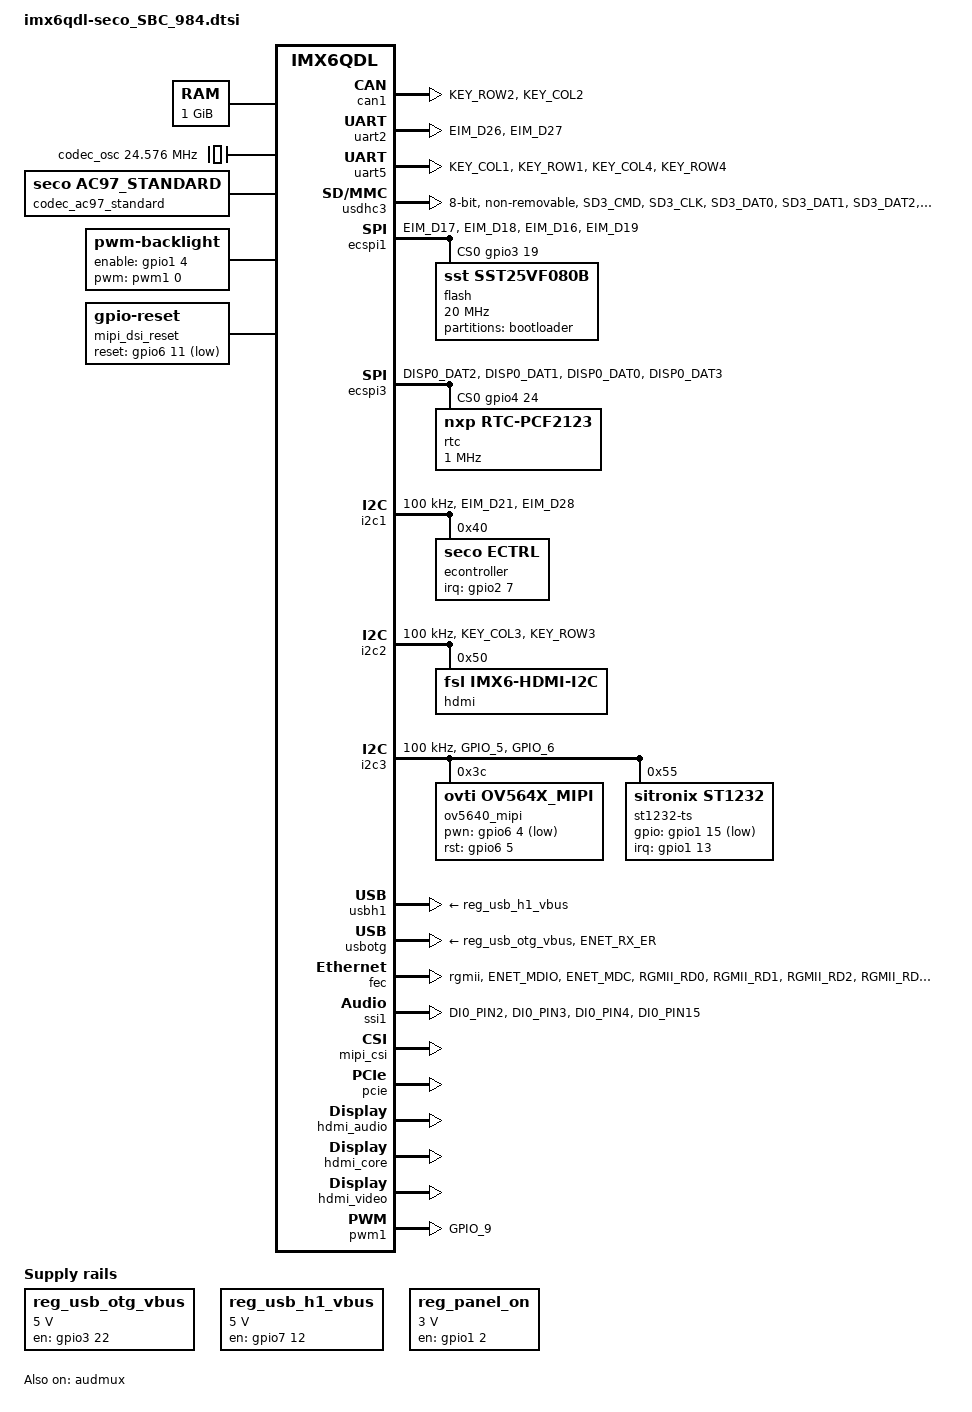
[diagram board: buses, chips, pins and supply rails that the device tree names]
/*
 * Copyright 2012 Freescale Semiconductor, Inc.
 * Copyright 2011 Linaro Ltd.
 *
 * The code contained herein is licensed under the GNU General Public
 * License. You may obtain a copy of the GNU General Public License
 * Version 2 or later at the following locations:
 *
 * http://www.opensource.org/licenses/gpl-license.html
 * http://www.gnu.org/copyleft/gpl.html
 */

#include <dt-bindings/input/input.h>
#include <dt-bindings/gpio/gpio.h>
#include <dt-bindings/seco/ectrl.h>


/ {
	aliases {
		mxcfb0 = &mxcfb1;
		mxcfb1 = &mxcfb2;
		mxcfb2 = &mxcfb3;
		mxcfb3 = &mxcfb4;
		mmc0   = &usdhc3;
	};

	memory: memory {
		reg = <0x10000000 0x40000000>;
	};



/*  __________________________________________________________________________
 * |_______________________________ CLOCKING _________________________________|
 */


	clocks {
		codec_osc: anaclk2 {
			compatible      = "fixed-clock";
			#clock-cells    = <0>;
			clock-frequency = <24576000>;
		};
	};


/*  __________________________________________________________________________
 * |___________________________ POWER MANAGEMENT _____________________________|
 */
	power_signal: power_signal {
		power-gpio = <&gpio2 4 0>;
	};

	regulators {
		compatible       = "simple-bus";
		#address-cells   = <1>;
		#size-cells      = <0>;

	reg_usb_otg_vbus: regulator@0 {
			compatible              = "regulator-fixed";
			reg                     = <0>;
			regulator-name          = "usb_otg_vbus";
			regulator-min-microvolt = <5000000>;
			regulator-max-microvolt = <5000000>;
			gpio                    = <&gpio3 22 0>;
			enable-active-high;
		};

	reg_usb_h1_vbus: regulator@1 {
			compatible              = "regulator-fixed";
			reg                     = <1>;
			regulator-name          = "usb_h1_vbus";
			regulator-min-microvolt = <5000000>;
			regulator-max-microvolt = <5000000>;
			gpio                    = <&gpio7 12 0>;
			enable-active-high;
		};

	 reg_panel_on: regulator@2 {
                        compatible              = "regulator-fixed";
                        reg                     = <2>;
                        regulator-name          = "reg_panel_on";
                        regulator-min-microvolt = <3000000>;
                        regulator-max-microvolt = <3000000>;
                        gpio                    = <&gpio1 2 0>;
                        enable-active-high;
                        regulator-boot-on;
                        regulator-always-on;
                };

	};

/*  __________________________________________________________________________
 * |____________________________ AUDIO ALC655 ________________________________|
 */
    codec_ac97_standard: codec_ac97_standard {
		compatible = "seco,ac97_standard";
		model	   = "ac97-standard-codec";
		status     = "okay";
	};

	sound_ac97_standard: sound_ac97_standard {
		compatible     = "fsl,imx-ac97_standard-audio";
		model          = "imx-ac97-ac97_standard";
		ssi-controller = <&ssi1>;
		audio-codec    = <&codec_ac97_standard>;
		mux-int-port   = <1>;
		mux-ext-port   = <6>;
		status         = "okay";
	};

/*  __________________________________________________________________________
 * |__________________________________________________________________________|
 */

	sound-hdmi {
		compatible      = "fsl,imx6q-audio-hdmi",
		                  "fsl,imx-audio-hdmi";
		model           = "imx-audio-hdmi";
		hdmi-controller = <&hdmi_audio>;
	};


/*  __________________________________________________________________________
 * |____________________________ FRAME BUFFER ________________________________|
 */
	mxcfb1: fb@0 {
		compatible        = "fsl,mxc_sdc_fb";
		disp_dev          = "ldb";
		interface_pix_fmt = "RGB666";
		mode_str          = "LDB-WVGA";
		default_bpp       = <16>;
		int_clk           = <0>;
		late_init         = <0>;
		status            = "disabled";
	};

	mxcfb2: fb@1 {
		compatible        = "fsl,mxc_sdc_fb";
		disp_dev          = "lcd";
		interface_pix_fmt = "RGB565";
		mode_str          = "CLAA-WVGA";
		default_bpp       = <16>;
		int_clk           = <0>;
		late_init         = <0>;
		status            = "disabled";
		
	};

	mxcfb3: fb@2 {
		compatible        = "fsl,mxc_sdc_fb";
		disp_dev          = "hdmi";
		interface_pix_fmt = "RGB24";
		mode_str          = "1920x1080M@60";
		default_bpp       = <24>;
		int_clk           = <0>;
		late_init         = <0>;
		status            = "disabled";
		
	};

	mxcfb4: fb@3 {
		compatible        = "fsl,mxc_sdc_fb";
		disp_dev          = "ldb";
		interface_pix_fmt = "RGB666";
		default_bpp       = <16>;
		int_clk           = <0>;
		late_init         = <0>;
		status            = "disabled";
	};

#include <dt-bindings/pwm/pwm.h>
	backlight {
		compatible               = "pwm-backlight";
		pwms                     = <&pwm1 0 5000000>;
		brightness-levels        = <0  4   8   12  16  20  24  28  32  36
		                            40  44  48  52  56  60  64  68  72  76
		                            80  84  88  92  96  100 104 108 112 116
		                            120 124 128 132 136 140 144 148 152 156
		                            160 164 168 172 176 180 184 188 192 196
		                            200 204 208 212 216 220 224 228 232 236
		                            240 244 248 252 255
		                           >;
		default-brightness-level = <64>;
		enable-gpios             = <&gpio1 4 0>;
		status                   = "okay";
	};

	v4l2_cap_0 {
		compatible  = "fsl,imx6q-v4l2-capture";
		ipu_id      = <0>;
		csi_id      = <0>;
		mclk_source = <0>;
		status      = "okay";
	};

	v4l2_cap_1 {
		compatible  = "fsl,imx6q-v4l2-capture";
		ipu_id      = <0>;
		csi_id      = <1>;
		mclk_source = <0>;
		status      = "okay";
	};

	v4l2_out {
		compatible = "fsl,mxc_v4l2_output";
		status     = "okay";
	};

	mipi_dsi_reset: mipi-dsi-reset {
		compatible = "gpio-reset";
		reset-gpios = <&gpio6 11 GPIO_ACTIVE_LOW>;
		reset-delay-us = <50>;
		#reset-cells = <0>;
	};

};

&clks {
	assigned-clocks =
			<&clks IMX6QDL_PLL4_BYPASS_SRC>,
			<&clks IMX6QDL_PLL4_BYPASS>,

			<&clks IMX6QDL_CLK_EMI_SEL>,
			<&clks IMX6QDL_CLK_EMI_SLOW_SEL>,

			<&clks IMX6QDL_CLK_PLL4_POST_DIV>,
			<&clks IMX6QDL_CLK_EMI_SLOW_PODF>;

	assigned-clock-parents =
			<&clks IMX6QDL_CLK_LVDS2_IN>,
			<&clks IMX6QDL_PLL4_BYPASS_SRC>,

			<&clks IMX6QDL_CLK_PLL2_PFD2_396M>,
			<&clks IMX6QDL_CLK_AXI>;

	assigned-clock-rates = <0>, <0>, <0>, <0>, <24576000>, <8>;
};



/*  __________________________________________________________________________
 * |                                                                          |
 * |                                    IOMUX                                 |
 * |__________________________________________________________________________|
 */

&iomuxc {
	pinctrl-names = "default";
	pinctrl-0 = <&pinctrl_hog>;

	imx6qdl-SBC_984 {

		pinctrl_hog: hoggrp {
			fsl,pins = <
				/*  LVDS  */
				MX6QDL_PAD_GPIO_4__GPIO1_IO04                0x1f071
				MX6QDL_PAD_GPIO_2__GPIO1_IO02                0x1f071
				/*  USB  */
				MX6QDL_PAD_EIM_D22__GPIO3_IO22               0x1f071
				MX6QDL_PAD_GPIO_17__GPIO7_IO12               0x1f071
				/*  ECTRL INTERRUPT  */
				MX6QDL_PAD_NANDF_D7__GPIO2_IO07              0x1f071
				/*  PWR EMBEDDED CONTROLLER  */
				MX6QDL_PAD_NANDF_D4__GPIO2_IO04              0x1f071
                                /* CAMERA */
			 	MX6QDL_PAD_GPIO_3__CCM_CLKO2		     0x1f071
                                MX6QDL_PAD_CSI0_DAT18__GPIO6_IO04            0x1f071
				MX6QDL_PAD_CSI0_DAT19__GPIO6_IO05            0x1f071
                                /* CAN */
                                MX6QDL_PAD_GPIO_0__GPIO1_IO00                0x1f071
                               
			>;
		};


/*  __________________________________________________________________________
 * |_________________________________ CAN ____________________________________|
 */
		pinctrl_flexcan1: flexcan1grp {
			fsl,pins = <
				MX6QDL_PAD_KEY_ROW2__FLEXCAN1_RX             0x80000000
				MX6QDL_PAD_KEY_COL2__FLEXCAN1_TX             0x80000000
			>;
		};

/*  __________________________________________________________________________
 * |________________________________ UART ____________________________________|
 */
		pinctrl_uart2: uart2grp {
			fsl,pins = <
				MX6QDL_PAD_EIM_D26__UART2_TX_DATA            0x1b0b1
				MX6QDL_PAD_EIM_D27__UART2_RX_DATA            0x1b0b1
			>;
		};

		

		pinctrl_uart5: uart5grp {
			fsl,pins = <
				MX6QDL_PAD_KEY_COL1__UART5_TX_DATA           0x1b0b1
				MX6QDL_PAD_KEY_ROW1__UART5_RX_DATA           0x1b0b1
				MX6QDL_PAD_KEY_COL4__UART5_RTS_B             0x1b0b1
				MX6QDL_PAD_KEY_ROW4__UART5_CTS_B             0x1b0b1

			>;
		};

/*  __________________________________________________________________________
 * |_________________________________ I2C ____________________________________|
 */
		pinctrl_i2c1: i2c1grp {
			fsl,pins = <
				MX6QDL_PAD_EIM_D21__I2C1_SCL                 0x4001b8b1
				MX6QDL_PAD_EIM_D28__I2C1_SDA                 0x4001b8b1
			>;
		};

		pinctrl_i2c2: i2c2grp {
			fsl,pins = <
				MX6QDL_PAD_KEY_COL3__I2C2_SCL                0x4001b8b1
				MX6QDL_PAD_KEY_ROW3__I2C2_SDA                0x4001b8b1
			 >;
		};

		pinctrl_i2c3: i2c3grp {
			fsl,pins = <
				MX6QDL_PAD_GPIO_5__I2C3_SCL                  0x4001b8b1
				MX6QDL_PAD_GPIO_6__I2C3_SDA                  0x4001b8b1
			>;
		};

/*  __________________________________________________________________________
 * |_________________________________ SPI ____________________________________|
 */
		pinctrl_ecspi1: ecspi1grp {
			fsl,pins = <
				MX6QDL_PAD_EIM_D17__ECSPI1_MISO              0x100b1
				MX6QDL_PAD_EIM_D18__ECSPI1_MOSI              0x100b1
				MX6QDL_PAD_EIM_D16__ECSPI1_SCLK              0x100b1
				/*  CS SPI 1  */
				MX6QDL_PAD_EIM_D19__GPIO3_IO19               0x80000000

			>;
		};
		
		

		pinctrl_ecspi3: ecspi3grp {
			fsl,pins = <
				MX6QDL_PAD_DISP0_DAT2__ECSPI3_MISO           0x100b1
				MX6QDL_PAD_DISP0_DAT1__ECSPI3_MOSI           0x100b1
				MX6QDL_PAD_DISP0_DAT0__ECSPI3_SCLK           0x100b1
				/*  CS SPI 3  */
				MX6QDL_PAD_DISP0_DAT3__GPIO4_IO24            0x80000000
                                
			>;
		};

/*  __________________________________________________________________________
 * |________________________________ USDHC ___________________________________|
 */
		pinctrl_usdhc3: usdhc3grp {
			fsl,pins = <
				MX6QDL_PAD_SD3_CMD__SD3_CMD                  0x17059
				MX6QDL_PAD_SD3_CLK__SD3_CLK                  0x10059
				MX6QDL_PAD_SD3_DAT0__SD3_DATA0               0x17059
				MX6QDL_PAD_SD3_DAT1__SD3_DATA1               0x17059
				MX6QDL_PAD_SD3_DAT2__SD3_DATA2               0x17059
				MX6QDL_PAD_SD3_DAT3__SD3_DATA3               0x17059
				MX6QDL_PAD_SD3_DAT4__SD3_DATA4               0x17059
				MX6QDL_PAD_SD3_DAT5__SD3_DATA5               0x17059
				MX6QDL_PAD_SD3_DAT6__SD3_DATA6               0x17059
				MX6QDL_PAD_SD3_DAT7__SD3_DATA7               0x17059
				MX6QDL_PAD_SD3_RST__SD3_RESET                0x17059
			>;
		};


/*  __________________________________________________________________________
 * |________________________________ TOUCH ___________________________________|
 */
		pinctrl_st1232: st1232grp {
			fsl,pins = <
				MX6QDL_PAD_EIM_D27__GPIO3_IO27             0x80000000		// Touch Interrupt
				MX6QDL_PAD_EIM_D26__GPIO3_IO26              0x80000000		// Touch Reset
			>;
		};
		

/*  __________________________________________________________________________
 * |______________________________ ETHERNET __________________________________|
 */
		pinctrl_enet: enetgrp {
			fsl,pins = <
				MX6QDL_PAD_ENET_MDIO__ENET_MDIO              0x1b0b0
				MX6QDL_PAD_ENET_MDC__ENET_MDC                0x1b0b0
				MX6QDL_PAD_RGMII_RD0__RGMII_RD0              0x1b0b0
				MX6QDL_PAD_RGMII_RD1__RGMII_RD1              0x1b0b0
				MX6QDL_PAD_RGMII_RD2__RGMII_RD2              0x1b0b0
				MX6QDL_PAD_RGMII_RD3__RGMII_RD3              0x1b0b0
				MX6QDL_PAD_RGMII_RX_CTL__RGMII_RX_CTL        0x1b0b0
				MX6QDL_PAD_RGMII_TD0__RGMII_TD0              0x1b0b0
				MX6QDL_PAD_RGMII_TD1__RGMII_TD1              0x1b0b0
				MX6QDL_PAD_RGMII_TD2__RGMII_TD2              0x1b0b0
				MX6QDL_PAD_RGMII_TD3__RGMII_TD3              0x1b0b0
				MX6QDL_PAD_RGMII_TX_CTL__RGMII_TX_CTL        0x1b0b0
				MX6QDL_PAD_RGMII_RXC__RGMII_RXC              0x1b0b0
				MX6QDL_PAD_RGMII_TXC__RGMII_TXC	             0x1b0b0
				MX6QDL_PAD_ENET_REF_CLK__ENET_TX_CLK         0x1b0b0

				/*  Phy Interrupt  */
				MX6QDL_PAD_ENET_TX_EN__GPIO1_IO28            0x1f071
				/*  ENET RESET */
				MX6QDL_PAD_EIM_D23__GPIO3_IO23               0x1f071
			>;
		};

/*  __________________________________________________________________________
 * |__________________________________ USB ___________________________________|
 */

		pinctrl_usbotg: usbotggrp {
			fsl,pins = <
				MX6QDL_PAD_ENET_RX_ER__USB_OTG_ID               0x17059 
			>;
		};


/*  __________________________________________________________________________
 * |_____________________________ AUDIO AC97 _________________________________|
 */
		ac97link_running: ac97link_runninggrp {
			fsl,pins = <
				
                               
                                MX6QDL_PAD_DI0_PIN2__AUD6_TXD                0x130b0
				MX6QDL_PAD_DI0_PIN3__AUD6_TXFS               0x130b0
				MX6QDL_PAD_DI0_PIN4__AUD6_RXD                0x130b0
				MX6QDL_PAD_DI0_PIN15__AUD6_TXC               0x130b0
			 >;
		};

		ac97link_reset: ac97link_resetgrp {
			fsl,pins = <
				/*  AUD_SYNC  */
			            MX6QDL_PAD_DI0_PIN3__GPIO4_IO19              0x1f071
                                 
				/*  AUD_SDO  */
				    MX6QDL_PAD_DI0_PIN2__GPIO4_IO18              0x1f071
                                
				/*  RESET  */
				    MX6QDL_PAD_SD2_CMD__GPIO1_IO11               0x1f071
			>;
		};

		ac97link_warm_reset: ac97link_warm_resetgrp {
			fsl,pins = <
				MX6QDL_PAD_DI0_PIN3__GPIO4_IO19              0x80000000
                                
			>;
		};

		pinctrl_audmux: audmuxgrp {
			fsl,pins = <
				    MX6QDL_PAD_DI0_PIN2__AUD6_TXD                0x130b0
				    MX6QDL_PAD_DI0_PIN3__AUD6_TXFS               0x130b0
				    MX6QDL_PAD_DI0_PIN4__AUD6_RXD                0x130b0
				    MX6QDL_PAD_DI0_PIN15__AUD6_TXC               0x130b0
                                 
				    MX6QDL_PAD_SD2_CMD__GPIO1_IO11               0x1f071
			>;
		};

		pinctrl_pwm1: pwm1grp {
                        fsl,pins = <
                                MX6QDL_PAD_GPIO_9__PWM1_OUT                  0x1b0b1
                        >;
                };


	};
};

/*  __________________________________________________________________________
 * |__________________________________________________________________________|
 */

/*  __________________________________________________________________________
 * |                                                                          |
 * |                                    CAN                                  |
 * |__________________________________________________________________________|
 */

&can1 {
	pinctrl-names = "default";
	pinctrl-0     = <&pinctrl_flexcan1>;
	status        = "okay";
};


/*  __________________________________________________________________________
 * |                                                                          |
 * |                                    UART                                  |
 * |__________________________________________________________________________|
 */
&uart2 {
	pinctrl-names = "default";
	pinctrl-0 = <&pinctrl_uart2>;
	status = "okay";
};




&uart5 {
	pinctrl-names = "default";
	pinctrl-0 = <&pinctrl_uart5>;
	status = "okay";
};

/*  __________________________________________________________________________
 * |                                                                          |
 * |                                   USDHC                                  |
 * |__________________________________________________________________________|
 */

&usdhc3 {
        pinctrl-names = "default";
        pinctrl-0     = <&pinctrl_usdhc3>;
        bus-width     = <8>;
        no-1-8-v;
        non-removable;
        keep-power-in-suspend;
        status        = "okay";
};

/*  __________________________________________________________________________
 * |__________________________________________________________________________|
 */

/*  __________________________________________________________________________
 * |                                                                          |
 * |                            SPI INTERFACE/DEVICE                          |
 * |__________________________________________________________________________|
 */
&ecspi1 {
	fsl,spi-num-chipselects = <1>;
	cs-gpios                = <&gpio3 19 0>;
	pinctrl-names           = "default";
	pinctrl-0               = <&pinctrl_ecspi1>;
	status                  = "okay";


	flash: m25p80@0 {
		#address-cells    = <1>;
		#size-cells       = <0>;

		compatible        = "sst,sst25vf080b";
		reg               = <0>;
		spi-max-frequency = <20000000>;

		partition@0 {
			label = "bootloader";
			reg   = <0x00000000 0x00004000>;
		};
	};

};

&ecspi3 {
	fsl,spi-num-chipselects = <1>;
	cs-gpios                = <&gpio4 24  0>;
	pinctrl-names           = "default";
	pinctrl-0               = <&pinctrl_ecspi3>;
	status                  = "okay";

        rtc: pcf2123@1 {
		compatible        = "nxp,rtc-pcf2123";
		reg               = <0>;
		spi-max-frequency = <1000000>;
		spi-cs-high;
       };
};
/*  __________________________________________________________________________
 * |__________________________________________________________________________|
 */


/*  __________________________________________________________________________
 * |                                                                          |
 * |                            I2C INTERFACE/DEVICE                          |
 * |__________________________________________________________________________|
 */

&i2c1 {
	clock-frequency = <100000>;
	pinctrl-names   = "default";
	pinctrl-0       = <&pinctrl_i2c1>;
	status          = "okay";

	econtroller: ectrl@40 {
		compatible       = "seco,ectrl";
		reg              = <0x40>;

		interrupt-parent = <&gpio2>;
		interrupts       = <7 2>;

		events           = <ECTRL_EVNT_PWR_BTN  ECTRL_EVNT_RST_BTN
							ECTRL_EVNT_SLEEP  ECTRL_EVNT_BATTERY
							ECTRL_EVNT_WAKE
						>;

		boot_device {

			bootdev@0 {
				id    = <ECTRL_BOOTDEV_EMMC>;
				label = "on board eMMC";
			};

			bootdev@1 {
				id    = <ECTRL_BOOTDEV_SPI>;
				label = "on board SPI flash";
			};

		};

	};

};

&i2c2 {
	clock-frequency = <100000>;
	pinctrl-names   = "default";
	pinctrl-0       = <&pinctrl_i2c2>;
	status          = "okay";

	hdmi: edid@50 {
		compatible = "fsl,imx6-hdmi-i2c";
		reg        = <0x50>;
	};
};

&i2c3 {
	clock-frequency = <100000>;
	pinctrl-names   = "default";
	pinctrl-0       = <&pinctrl_i2c3>;
	status          = "okay";

	ov5640_mipi: ov5640_mipi@3c {
		compatible  = "ovti,ov564x_mipi";
		reg         = <0x3c>;

		clocks      = <&clks IMX6QDL_CLK_CKO2>;
		clock-names = "csi_mclk";

		pwn-gpios   = <&gpio6 4 1>;   /* active low */
		rst-gpios   = <&gpio6 5 0>;   /* active high */

		csi_id      = <0>;
		mclk        = <24000000>;
		mclk_source = <0>;
	};

	st1232-ts@55 {
		compatible       = "sitronix,st1232";
		reg              = <0x55>;

		pinctrl-names    = "default";
		pinctrl-0        = <&pinctrl_st1232>;
		interrupt-parent = <&gpio1>;
		interrupts       = <13 IRQ_TYPE_LEVEL_LOW>;
		gpios            = <&gpio1 15 GPIO_ACTIVE_LOW>;
	};

};
/*  __________________________________________________________________________
 * |__________________________________________________________________________|
 */


/*  __________________________________________________________________________
 * |                                                                          |
 * |                                     USB                                  |
 * |__________________________________________________________________________|
 */

&usbh1 {
	vbus-supply   = <&reg_usb_h1_vbus>;
	status        = "okay";
};


&usbotg {
	vbus-supply   = <&reg_usb_otg_vbus>;
	pinctrl-names = "default";
	pinctrl-0     = <&pinctrl_usbotg>;
	disable-over-current;
	status        = "okay";
};
/*  __________________________________________________________________________
 * |__________________________________________________________________________|
 */


/*  __________________________________________________________________________
 * |                                                                          |
 * |                                  ETHERNET                                |
 * |__________________________________________________________________________|
 */
&fec {
	pinctrl-names      = "default";
	pinctrl-0          = <&pinctrl_enet>;
	phy-mode           = "rgmii";
	phy-reset-gpios    = <&gpio3 23 0>;
	phy-reset-duration = <10>;
	fsl,magic-packet;
	status             = "okay";
};
/*  __________________________________________________________________________
 * |__________________________________________________________________________|
 */

/*  __________________________________________________________________________
 * |                                                                          |
 * |                                    AUDIO                                 |
 * |__________________________________________________________________________|
 */

&ssi1 {
	fsl,mode      = "ac97-slave";
	pinctrl-names = "default", "ac97-running", "ac97-reset", "ac97-warm-reset";
	pinctrl-0     = <&ac97link_running>;
	pinctrl-1     = <&ac97link_running>;
	pinctrl-2     = <&ac97link_reset>;
	pinctrl-3     = <&ac97link_warm_reset>;
	/* sync, sdata (output), reset */
	ac97-gpios    = <&gpio4 19 0 &gpio4 18 0 &gpio1 11 0>;
	status        = "okay";
};

&audmux {
	status = "okay";
};
/*  __________________________________________________________________________
 * |__________________________________________________________________________|
 */

/*  __________________________________________________________________________
 * |                                                                          |
 * |                                  CAMERA CSI                              |
 * |__________________________________________________________________________|
 */
&mipi_csi {
	ipu_id    = <0>;
	csi_id    = <0>;
	v_channel = <0>;
	lanes     = <2>;
	status    = "okay";
};

/*  __________________________________________________________________________
 * |__________________________________________________________________________|
 */

/*  __________________________________________________________________________
 * |                                                                          |
 * |                                  PCIE                              |
 * |__________________________________________________________________________|
 */

&pcie {

	status = "okay";
};


/*  __________________________________________________________________________
 * |                                                                          |
 * |                                 VIDEO OUTPUT                             |
 * |__________________________________________________________________________|
 */
&hdmi_audio {
	status = "okay";
};


&hdmi_core {
	ipu_id  = <0>;
	disp_id = <0>;
	status  = "okay";
};


&hdmi_video {
	fsl,phy_reg_vlev    = <0x0294>;
	fsl,phy_reg_cksymtx = <0x800d>;
	status              = "okay";
};
/*  __________________________________________________________________________
 * |__________________________________________________________________________|
 */


&pwm1 {
        pinctrl-names = "default";
        pinctrl-0     = <&pinctrl_pwm1>;
        status        = "okay";
};

